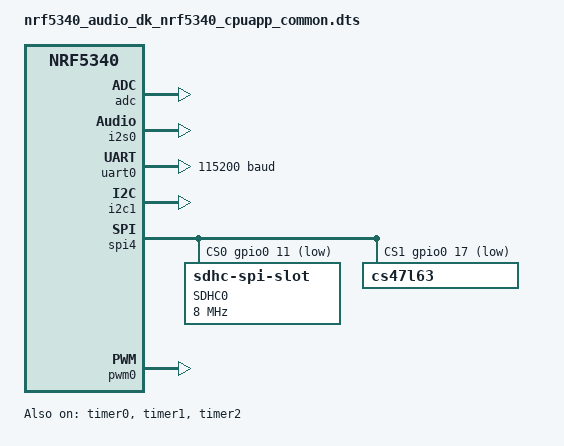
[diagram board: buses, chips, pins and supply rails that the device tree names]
/*
 * Copyright (c) 2020-2022 Nordic Semiconductor ASA
 *
 * SPDX-License-Identifier: Apache-2.0
 */
#include "nrf5340_audio_dk_nrf5340_cpuapp_common-pinctrl.dtsi"

/ {
	chosen {
		zephyr,console = &uart0;
		zephyr,shell-uart = &uart0;
		zephyr,uart-mcumgr = &uart0;
		zephyr,bt-mon-uart = &uart0;
		zephyr,bt-c2h-uart = &uart0;
		zephyr,bt-hci-rpmsg-ipc = &ipc0;
	};

	gpio_fwd: nrf-gpio-forwarder {
		compatible = "nordic,nrf-gpio-forwarder";
		status = "okay";
		uart {
			gpios = <&gpio1 9 0>, <&gpio1 8 0>, <&gpio1 11 0>, <&gpio1 10 0>;
		};
	};
};

&adc {
	status = "okay";
};

&gpiote {
	status = "okay";
};

&gpio0 {
	status = "okay";
};

&gpio1 {
	status = "okay";
};

&i2s0 {
	compatible = "nordic,nrf-i2s";
	status = "okay";
	pinctrl-0 = <&i2s0_default>;
	pinctrl-names = "default";
};

&uart0 {
	status = "okay";
	current-speed = <115200>;
	pinctrl-0 = <&uart0_default>;
	pinctrl-1 = <&uart0_sleep>;
	pinctrl-names = "default", "sleep";
};

&i2c1 {
	compatible = "nordic,nrf-twim";
	status = "okay";
	pinctrl-0 = <&i2c1_default>;
	pinctrl-1 = <&i2c1_sleep>;
	pinctrl-names = "default", "sleep";
};

&spi4 {
	compatible = "nordic,nrf-spim";
	status = "okay";
	cs-gpios = <&gpio0 11 GPIO_ACTIVE_LOW>, <&gpio0 17 GPIO_ACTIVE_LOW>;
	pinctrl-0 = <&spi4_default>;
	pinctrl-1 = <&spi4_sleep>;
	pinctrl-names = "default", "sleep";
	sdhc0: sdhc@0 {
		compatible = "zephyr,sdhc-spi-slot";
		reg = <0>;
		status = "okay";
		label = "SDHC0";
		mmc {
			compatible = "zephyr,sdmmc-disk";
			status = "okay";
		};

		spi-max-frequency = <8000000>;
	};
	cs47l63: cs47l63@1 {
		reg = <1>;
		label = "CS47L63";
	};
};

&pwm0 {
	status = "okay";
};

&timer0 {
	status = "okay";
};

&timer1 {
	status = "okay";
};

&timer2 {
	status = "okay";
};

&flash0 {
	partitions {
		compatible = "fixed-partitions";
		#address-cells = <1>;
		#size-cells = <1>;

		boot_partition: partition@0 {
			label = "mcuboot";
			reg = <0x00000000 0x00010000>;
		};
		slot0_partition: partition@10000 {
			label = "image-0";
		};
		slot0_ns_partition: partition@50000 {
			label = "image-0-nonsecure";
		};
		slot1_partition: partition@80000 {
			label = "image-1";
		};
		slot1_ns_partition: partition@c0000 {
			label = "image-1-nonsecure";
		};
		scratch_partition: partition@f0000 {
			label = "image-scratch";
			reg = <0x000f0000 0xa000>;
		};
		storage_partition: partition@fa000 {
			label = "storage";
			reg = <0x000fa000 0x00006000>;
		};
	};
};

/ {
	reserved-memory {
		#address-cells = <1>;
		#size-cells = <1>;
		ranges;

		sram0_image: image@20000000 {
			/* Zephyr image(s) memory */
		};

		sram0_s: image_s@20000000 {
			/* Secure image memory */
		};

		sram0_ns: image_ns@20040000 {
			/* Non-Secure image memory */
		};
	};
};

/* Include partition configuration file */
#include "nrf5340_audio_dk_nrf5340_cpuapp_partition_conf.dts"
#include "nrf5340_audio_dk_nrf5340_shared.dts"
